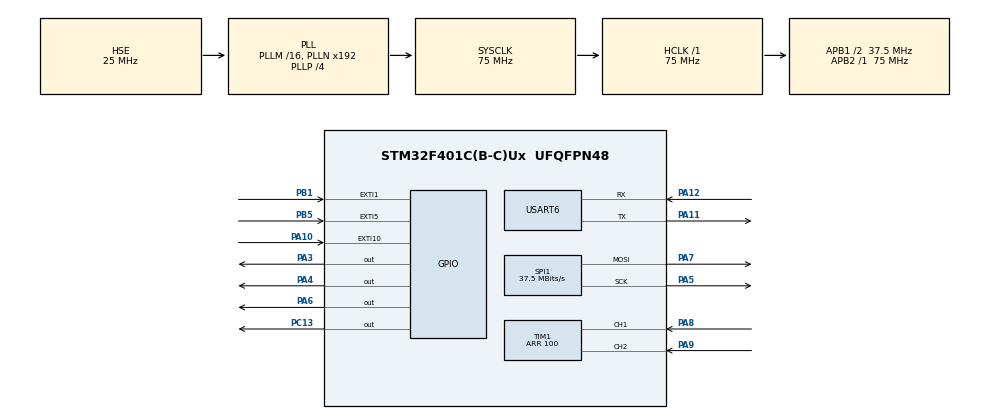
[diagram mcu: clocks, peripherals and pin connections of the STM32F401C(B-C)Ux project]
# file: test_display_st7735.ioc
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Mcu.Family=STM32F4
Mcu.Name=STM32F401C(B-C)Ux
Mcu.Package=UFQFPN48
NVIC.EXTI15_10_IRQn=true\:0\:0\:false\:false\:true\:true\:true\:true
NVIC.EXTI1_IRQn=true\:0\:0\:false\:false\:true\:true\:true\:true
NVIC.EXTI9_5_IRQn=true\:0\:0\:false\:false\:true\:true\:true\:true
NVIC.PriorityGroup=NVIC_PRIORITYGROUP_4
NVIC.TIM1_BRK_TIM9_IRQn=true\:0\:0\:false\:false\:true\:true\:true\:true
NVIC.TIM1_CC_IRQn=true\:0\:0\:false\:false\:true\:true\:true\:true
NVIC.TIM1_UP_TIM10_IRQn=true\:0\:0\:false\:false\:true\:true\:true\:true
PA10.GPIO_ModeDefaultEXTI=GPIO_MODE_IT_FALLING
PA10.GPIO_PuPd=GPIO_PULLUP
PA10.Signal=GPXTI10
PA11.Mode=Asynchronous
PA11.Signal=USART6_TX
PA12.Mode=Asynchronous
PA12.Signal=USART6_RX
PA13.Mode=Serial_Wire
PA13.Signal=SYS_JTMS-SWDIO
PA14.Mode=Serial_Wire
PA14.Signal=SYS_JTCK-SWCLK
PA3.Signal=GPIO_Output
PA4.Signal=GPIO_Output
PA5.Mode=TX_Only_Simplex_Unidirect_Master
PA5.Signal=SPI1_SCK
PA6.Signal=GPIO_Output
PA7.Mode=TX_Only_Simplex_Unidirect_Master
PA7.Signal=SPI1_MOSI
PA8.GPIO_PuPd=GPIO_PULLUP
PA8.Signal=S_TIM1_CH1
PA9.GPIO_PuPd=GPIO_PULLUP
PA9.Signal=S_TIM1_CH2
PB1.GPIO_ModeDefaultEXTI=GPIO_MODE_IT_FALLING
PB1.GPIO_PuPd=GPIO_PULLUP
PB1.Signal=GPXTI1
PB5.GPIO_ModeDefaultEXTI=GPIO_MODE_IT_FALLING
PB5.GPIO_PuPd=GPIO_PULLUP
PB5.Signal=GPXTI5
PC13-ANTI_TAMP.Signal=GPIO_Output
PH0\ -\ OSC_IN.Mode=HSE-External-Oscillator
PH0\ -\ OSC_IN.Signal=RCC_OSC_IN
PH1\ -\ OSC_OUT.Mode=HSE-External-Oscillator
PH1\ -\ OSC_OUT.Signal=RCC_OSC_OUT
ProjectManager.HeapSize=0x400
ProjectManager.StackSize=0x400
ProjectManager.TargetToolchain=MDK-ARM V5.32
RCC.48MHZClocksFreq_Value=75000000
RCC.AHBFreq_Value=75000000
RCC.APB1CLKDivider=RCC_HCLK_DIV2
RCC.APB1Freq_Value=37500000
RCC.APB1TimFreq_Value=75000000
RCC.APB2Freq_Value=75000000
RCC.APB2TimFreq_Value=75000000
RCC.CortexFreq_Value=75000000
RCC.HCLKFreq_Value=75000000
RCC.HSE_VALUE=25000000
RCC.HSI_VALUE=16000000
RCC.LSE_VALUE=32768
RCC.PLLP=RCC_PLLP_DIV4
RCC.PLLSourceVirtual=RCC_PLLSOURCE_HSE
RCC.SYSCLKFreq_VALUE=75000000
RCC.SYSCLKSource=RCC_SYSCLKSOURCE_PLLCLK
RCC.VCOOutputFreq_Value=300000000
SH.S_TIM1_CH1.0=TIM1_CH1,Encoder_Interface
SH.S_TIM1_CH2.0=TIM1_CH2,Encoder_Interface
SPI1.BaudRatePrescaler=SPI_BAUDRATEPRESCALER_2
SPI1.CLKPhase=SPI_PHASE_1EDGE
SPI1.CLKPolarity=SPI_POLARITY_LOW
SPI1.CalculateBaudRate=37.5 MBits/s
SPI1.Direction=SPI_DIRECTION_2LINES
SPI1.Mode=SPI_MODE_MASTER
SPI1.VirtualType=VM_MASTER
TIM1.EncoderMode=TIM_ENCODERMODE_TI1
TIM1.Period=100
TIM10.AutoReloadPreload=TIM_AUTORELOAD_PRELOAD_ENABLE
TIM10.Period=20000
TIM10.Prescaler=749
TIM9.AutoReloadPreload=TIM_AUTORELOAD_PRELOAD_ENABLE
TIM9.Period=10000
TIM9.Prescaler=749
USART6.VirtualMode=VM_ASYNC
VP_TIM10_VS_ClockSourceINT.Mode=Enable_Timer
VP_TIM9_VS_ClockSourceINT.Mode=Internal
board=custom

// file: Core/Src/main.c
/* USER CODE BEGIN Header */
/**
  ******************************************************************************
  * @file           : main.c
  * @brief          : Main program body
  ******************************************************************************
  * @attention
  *
  * Copyright (c) 2024 STMicroelectronics.
  * All rights reserved.
  *
  * This software is licensed under terms that can be found in the LICENSE file
  * in the root directory of this software component.
  * If no LICENSE file comes with this software, it is provided AS-IS.
  *
  ******************************************************************************
  */
/* USER CODE END Header */
#include "main.h"
#include "spi.h"
#include "tim.h"
#include "usart.h"
#include "gpio.h"

/* USER CODE BEGIN Includes */

//#include "IRQ_Handlers.h"
#include <stdio.h>
#include <string.h>
#include "graphic.h"
// #include "ADC.h"

/* USER CODE END Includes */

/* USER CODE BEGIN PV */

volatile uint8_t flag = 0u;
volatile uint8_t flag_menu = 0u;
volatile uint8_t flag_btn_encoder = 0u;

/* USER CODE END PV */

void SystemClock_Config(void);

int main(void)
{

  /* MCU Configuration--------------------------------------------------------*/

  /* Reset of all peripherals, Initializes the Flash interface and the Systick. */
  HAL_Init();

  /* Configure the system clock */
  SystemClock_Config();

  /* Initialize all configured peripherals */
  MX_GPIO_Init();
  MX_SPI1_Init();
  MX_TIM1_Init();
  MX_USART6_UART_Init();
  MX_TIM10_Init();
  MX_TIM9_Init();
  /* USER CODE BEGIN 2 */

	//----------------------------------------------------------------------------------------------------------------------------------------------------------
	/*
	ST7735_initR(INITR_BLACKTAB, &hspi1); // Initialize the LCD
  setRotation(1);
  createFramebuf(); // Create the framebuffer for the LCD
  clearDisplay();
  //splash(); // Splash screen

	//drawBitmap(0, 0, 160, 128, (uint16_t*)logo);
	drawRect(20, 20, 50, 50, ST7735_RED);
  setTextColor(ST7735_BLACK, ST7735_WHITE);

  printString(" FW compiled: ");
  //printString(__DATE__);
  flushDisplay();
	drawFastVLine(50, 50, 77, ST7735_RED);
  HAL_Delay(2500);
	*/

	HAL_TIM_IC_Start_IT(&htim1, TIM_CHANNEL_1);
	HAL_TIM_Encoder_Start(&htim1, TIM_CHANNEL_1);
  HAL_TIM_Base_Start_IT(&htim9);

  scopeInit();

	//----------------------------------------------------------------------------------------------------------------------------------------------------------

	uint8_t str[10];
	uint8_t str1[] = "Pushed\r\n\0";
  uint8_t str2[] = "Released\r\n\0";

	//createADCArray();
  //createPointArrays();
  //getNewADCMeasures();

  //updateScales();

  // uint16_t len = 200;
  // uint16_t* mas  = (uint16_t*)malloc(len * sizeof(uint16_t));

	// for (uint16_t i = 0U; i < len; ++i) {
  //   mas[i] = i;
  // }

  /* USER CODE END 2 */

  /* Infinite loop */
  while (1)
  {

    /* USER CODE BEGIN 3 */

		//HAL_GPIO_TogglePin(GPIOC, GPIO_PIN_13);
		//HAL_Delay(100);

		//clearDisplay();

		// if (flag) {
		// drawRect(20, 20, 100, 100, ST7735_RED);
		// flag = 0u;

		// } else {
		// 	drawRect(20, 20, 100, 100, ST7735_BLUE);
		// 	flag = 1u;

		// }
		// //flushDisplay();
		// HAL_Delay(200);

    scopeLoop();

    sprintf((char*)str, "%d\n\r", pixelScaleMV);
    HAL_UART_Transmit(&huart6, str, strlen((char*)str), 30);
    // if (updateScreenShot == 1U) {
    //   HAL_UART_Transmit(&huart6, str1, 8, 30);
    //   updateScreenShot = 0U;
    // }

    // if (measures != NULL) {
    //   for (uint16_t i = 0U; i < LENGTH; ++i) {
    //     sprintf((char*)str, "%d\n\r", measures[i]);
    //     //sprintf((char*)str, "---\n\r");
    //     HAL_UART_Transmit(&huart6, str, strlen((char*)str), 30);
    //     HAL_Delay(100);
    //   }
    // } else {
    //   HAL_UART_Transmit(&huart6, str1, strlen((char*)str1), 30);
    //   HAL_Delay(100);
    // }

    // sprintf((char*)str, "%d\n\r", trigLevelMV);
		// HAL_UART_Transmit(&huart6, str, strlen(str), 30);
    // HAL_Delay(10);

    // if (menuButtonPushed == 1U) {
		//   HAL_UART_Transmit(&huart6, str1, 8, 30);
    // } else {
    //   HAL_UART_Transmit(&huart6, str2, 10, 30);
    // }

    // HAL_Delay(50);

    // Test the INTERRUPTS
    /*
		if (flag != 0u) {
			cnt = TIM1->CNT;
			sprintf(str, "%d\r\n", cnt);
			HAL_UART_Transmit(&huart6, (uint8_t*)str, strlen((char*)str), 50);
			//HAL_Delay(500);
			flag = 0u;
		}

		if ( flag_menu != 0u) {
			HAL_UART_Transmit(&huart6, (uint8_t*)"menu\r\n", 6, 50);
			flag_menu = 0u;
		}

		if ( flag_btn_encoder != 0u) {
			HAL_UART_Transmit(&huart6, (uint8_t*)"btn_enc\r\n", 9, 50);
			flag_btn_encoder = 0u;
		}
    */

  }
  /* USER CODE END 3 */
}

void SystemClock_Config(void)
{
  RCC_OscInitTypeDef RCC_OscInitStruct = {0};
  RCC_ClkInitTypeDef RCC_ClkInitStruct = {0};

  /** Configure the main internal regulator output voltage
  */
  __HAL_RCC_PWR_CLK_ENABLE();
  __HAL_PWR_VOLTAGESCALING_CONFIG(PWR_REGULATOR_VOLTAGE_SCALE2);

  /** Initializes the RCC Oscillators according to the specified parameters
  * in the RCC_OscInitTypeDef structure.
  */
  RCC_OscInitStruct.OscillatorType = RCC_OSCILLATORTYPE_HSE;
  RCC_OscInitStruct.HSEState = RCC_HSE_ON;
  RCC_OscInitStruct.PLL.PLLState = RCC_PLL_ON;
  RCC_OscInitStruct.PLL.PLLSource = RCC_PLLSOURCE_HSE;
  RCC_OscInitStruct.PLL.PLLM = 16;
  RCC_OscInitStruct.PLL.PLLN = 192;
  RCC_OscInitStruct.PLL.PLLP = RCC_PLLP_DIV4;
  RCC_OscInitStruct.PLL.PLLQ = 4;
  if (HAL_RCC_OscConfig(&RCC_OscInitStruct) != HAL_OK)
  {
    Error_Handler();
  }

  /** Initializes the CPU, AHB and APB buses clocks
  */
  RCC_ClkInitStruct.ClockType = RCC_CLOCKTYPE_HCLK|RCC_CLOCKTYPE_SYSCLK
                              |RCC_CLOCKTYPE_PCLK1|RCC_CLOCKTYPE_PCLK2;
  RCC_ClkInitStruct.SYSCLKSource = RCC_SYSCLKSOURCE_PLLCLK;
  RCC_ClkInitStruct.AHBCLKDivider = RCC_SYSCLK_DIV1;
  RCC_ClkInitStruct.APB1CLKDivider = RCC_HCLK_DIV2;
  RCC_ClkInitStruct.APB2CLKDivider = RCC_HCLK_DIV1;

  if (HAL_RCC_ClockConfig(&RCC_ClkInitStruct, FLASH_LATENCY_2) != HAL_OK)
  {
    Error_Handler();
  }
}

void Error_Handler(void)
{
  __disable_irq();
  while (1)
  {
  }
}
